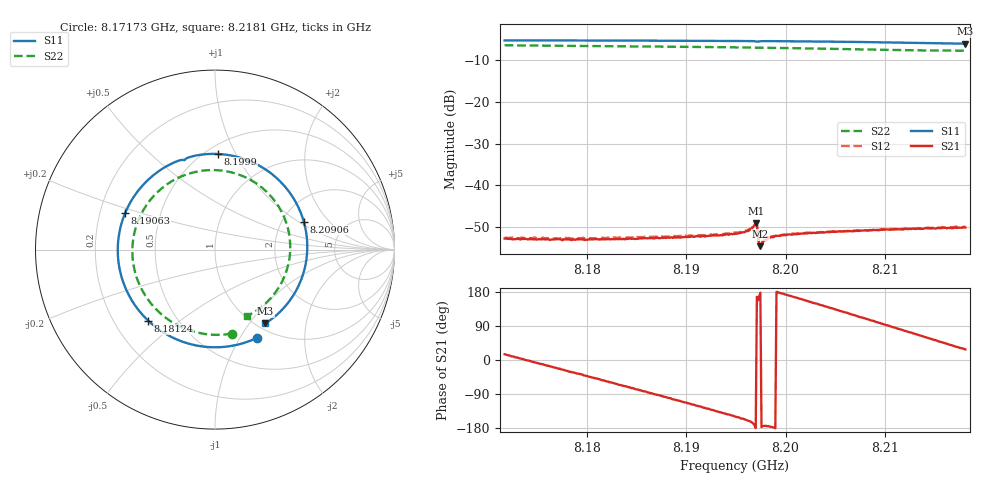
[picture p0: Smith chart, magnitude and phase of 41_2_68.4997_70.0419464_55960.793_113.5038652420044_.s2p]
#  HZ  S  RI  R  50.00
! Rohde & Schwarz Vector Network Analyzer
! Rohde-Schwarz,ZNB20-2Port,1311601062101988,3.16
! Created: UTC 3/20/2024, 5:05:35 PM
! freq[Hz]  re:S11  im:S11  re:S21  im:S21  re:S12  im:S12  re:S22  im:S22
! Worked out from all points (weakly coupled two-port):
!   401 points, 8.17173 GHz to 8.2181 GHz, reference 50 ohm
!   highest |S21| = -49.02 dB at 8.197 GHz (marker M1); lowest = -54.6 dB at 8.19747 GHz (marker M2)
!   lowest |S11| = -6.1 dB at 8.2181 GHz (marker M3), VSWR 2.98, Z = 54.7 - j59.9 ohm
!   |S11| at or under -10 dB: nowhere
!   |S22| runs from -7.7 to -6.4 dB; largest |S21 - S12| = 0.00019
!   S11 on the Smith chart (normalised r, x): 8.17173 GHz: 0.85, -1.19; 8.18124 GHz: 0.35, -0.39; 8.19063 GHz: 0.31, +0.18; 8.1999 GHz: 0.57, +0.85; 8.20906 GHz: 2.61, +1.12; 8.2181 GHz: 1.09, -1.20
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8.171729e9  0.2345 -0.4911  0.00222 0.0006  0.00225 0.000649  0.0948 -0.4676
8.175671e9  -0.0267 -0.5437  0.0022 -0.000482  0.00228 -0.000515  -0.1283 -0.4543
8.179496e9  -0.2762 -0.4685  0.00178 -0.00137  0.0018 -0.00147  -0.3139 -0.3466
8.181235e9  -0.3719 -0.3962  0.00142 -0.00173  0.00146 -0.00185  -0.3774 -0.2729
8.184365e9  -0.4964 -0.2196  0.000693 -0.00219  0.000658 -0.00226  -0.4484 -0.1144
8.187264e9  -0.5413 -0.0239  -0.00012 -0.00231  -0.000201 -0.00243  -0.4573 0.046
8.190626e9  -0.4999 0.2058  -0.00113 -0.00216  -0.0012 -0.00219  -0.3982 0.2219
8.192712e9  -0.4254 0.3314  -0.00168 -0.00187  -0.00177 -0.00183  -0.3271 0.3136
8.194915e9  -0.3129 0.4374  -0.00224 -0.00134  -0.00234 -0.00128  -0.229 0.3876
8.196074e9  -0.242 0.4791  -0.00265 -0.00104  -0.00271 -0.000945  -0.1701 0.4148
8.196886e9  -0.1857 0.4997  -0.00333 -0.000434  -0.00343 -0.000317  -0.1264 0.4286
8.197002e9  -0.1768 0.4998  -0.00354 -2.69e-05  -0.00359 0.000155  -0.1201 0.4303
8.197465e9  -0.1561 0.5097  -0.00186 7.92e-05  -0.00187 0.000153  -0.0947 0.4356
8.197581e9  -0.1478 0.5133  -0.00196 -9.84e-05  -0.00201 -2.34e-05  -0.0884 0.437
8.198509e9  -0.0818 0.5282  -0.00239 -0.000151  -0.00243 -1.98e-05  -0.0361 0.4427
8.1999e9  0.0168 0.5328  -0.00252 0.000294  -0.00253 0.000383  0.0428 0.4396
8.202682e9  0.2071 0.4874  -0.00236 0.00129  -0.00235 0.00137  0.1937 0.3907
8.206044e9  0.3951 0.3445  -0.00163 0.00229  -0.00157 0.00234  0.3393 0.2625
8.209058e9  0.4945 0.1561  -0.000539 0.00286  -0.000475 0.00291  0.4106 0.0992
8.210449e9  0.5124 0.0583  -2.71e-06 0.00294  6.97e-05 0.00296  0.4193 0.0157
8.214043e9  0.4694 -0.1931  0.00151 0.00268  0.00158 0.00263  0.3639 -0.1966
8.218101e9  0.2803 -0.4116  0.00276 0.00146  0.00287 0.00139  0.1769 -0.3708
